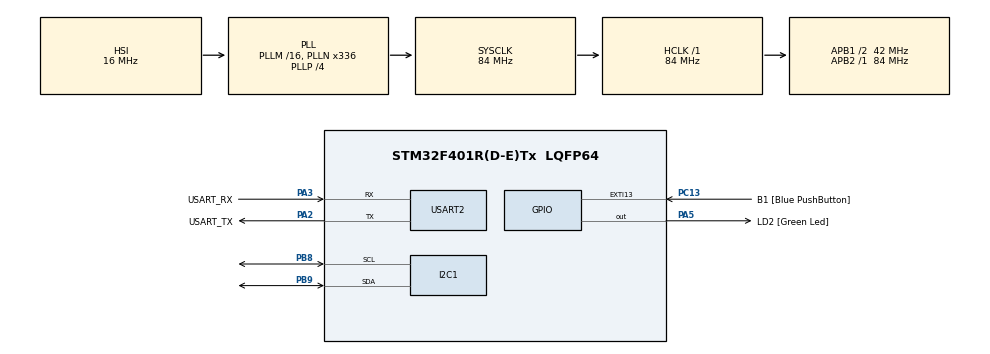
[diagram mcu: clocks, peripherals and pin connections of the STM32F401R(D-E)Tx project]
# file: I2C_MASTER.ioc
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Dma.I2C1_RX.0.Direction=DMA_PERIPH_TO_MEMORY
Dma.I2C1_RX.0.FIFOMode=DMA_FIFOMODE_DISABLE
Dma.I2C1_RX.0.Instance=DMA1_Stream0
Dma.I2C1_RX.0.MemDataAlignment=DMA_MDATAALIGN_BYTE
Dma.I2C1_RX.0.MemInc=DMA_MINC_ENABLE
Dma.I2C1_RX.0.Mode=DMA_NORMAL
Dma.I2C1_RX.0.PeriphDataAlignment=DMA_PDATAALIGN_BYTE
Dma.I2C1_RX.0.PeriphInc=DMA_PINC_DISABLE
Dma.I2C1_RX.0.Priority=DMA_PRIORITY_LOW
Dma.I2C1_TX.1.Direction=DMA_MEMORY_TO_PERIPH
Dma.I2C1_TX.1.FIFOMode=DMA_FIFOMODE_DISABLE
Dma.I2C1_TX.1.Instance=DMA1_Stream7
Dma.I2C1_TX.1.MemDataAlignment=DMA_MDATAALIGN_BYTE
Dma.I2C1_TX.1.MemInc=DMA_MINC_ENABLE
Dma.I2C1_TX.1.Mode=DMA_NORMAL
Dma.I2C1_TX.1.PeriphDataAlignment=DMA_PDATAALIGN_BYTE
Dma.I2C1_TX.1.PeriphInc=DMA_PINC_DISABLE
Dma.I2C1_TX.1.Priority=DMA_PRIORITY_LOW
Dma.Request0=I2C1_RX
Dma.Request1=I2C1_TX
Dma.Request2=USART2_RX
Dma.Request3=USART2_TX
Dma.USART2_RX.2.Direction=DMA_PERIPH_TO_MEMORY
Dma.USART2_RX.2.FIFOMode=DMA_FIFOMODE_DISABLE
Dma.USART2_RX.2.Instance=DMA1_Stream5
Dma.USART2_RX.2.MemDataAlignment=DMA_MDATAALIGN_BYTE
Dma.USART2_RX.2.MemInc=DMA_MINC_ENABLE
Dma.USART2_RX.2.Mode=DMA_NORMAL
Dma.USART2_RX.2.PeriphDataAlignment=DMA_PDATAALIGN_BYTE
Dma.USART2_RX.2.PeriphInc=DMA_PINC_DISABLE
Dma.USART2_RX.2.Priority=DMA_PRIORITY_LOW
Dma.USART2_TX.3.Direction=DMA_MEMORY_TO_PERIPH
Dma.USART2_TX.3.FIFOMode=DMA_FIFOMODE_DISABLE
Dma.USART2_TX.3.Instance=DMA1_Stream6
Dma.USART2_TX.3.MemDataAlignment=DMA_MDATAALIGN_BYTE
Dma.USART2_TX.3.MemInc=DMA_MINC_ENABLE
Dma.USART2_TX.3.Mode=DMA_NORMAL
Dma.USART2_TX.3.PeriphDataAlignment=DMA_PDATAALIGN_BYTE
Dma.USART2_TX.3.PeriphInc=DMA_PINC_DISABLE
Dma.USART2_TX.3.Priority=DMA_PRIORITY_LOW
I2C1.I2C_Mode=I2C_Fast
Mcu.Family=STM32F4
Mcu.Name=STM32F401R(D-E)Tx
Mcu.Package=LQFP64
NVIC.DMA1_Stream0_IRQn=true\:0\:0\:false\:false\:true\:false\:true\:true
NVIC.DMA1_Stream5_IRQn=true\:0\:0\:false\:false\:true\:false\:true\:true
NVIC.DMA1_Stream6_IRQn=true\:0\:0\:false\:false\:true\:false\:true\:true
NVIC.DMA1_Stream7_IRQn=true\:0\:0\:false\:false\:true\:false\:true\:true
NVIC.EXTI15_10_IRQn=true\:0\:0\:false\:false\:true\:true\:true\:true
NVIC.I2C1_ER_IRQn=true\:0\:0\:false\:false\:true\:true\:true\:true
NVIC.I2C1_EV_IRQn=true\:0\:0\:false\:false\:true\:true\:true\:true
NVIC.PriorityGroup=NVIC_PRIORITYGROUP_0
NVIC.TIM1_BRK_TIM9_IRQn=true\:0\:0\:false\:false\:true\:true\:true\:true
NVIC.TIM1_CC_IRQn=true\:0\:0\:false\:false\:true\:true\:true\:true
NVIC.TIM1_TRG_COM_TIM11_IRQn=true\:0\:0\:false\:false\:true\:true\:true\:true
NVIC.TIM1_UP_TIM10_IRQn=true\:0\:0\:false\:false\:true\:true\:true\:true
NVIC.TIM4_IRQn=true\:0\:0\:false\:false\:true\:false\:true\:true
NVIC.TimeBase=TIM4_IRQn
NVIC.TimeBaseIP=TIM4
NVIC.USART2_IRQn=true\:0\:0\:false\:false\:true\:true\:true\:true
PA13.GPIO_Label=TMS
PA13.Mode=Trace_Asynchronous_SW
PA13.Signal=SYS_JTMS-SWDIO
PA14.GPIO_Label=TCK
PA14.Mode=Trace_Asynchronous_SW
PA14.Signal=SYS_JTCK-SWCLK
PA2.GPIO_Label=USART_TX
PA2.GPIO_Mode=GPIO_MODE_AF_PP
PA2.GPIO_PuPd=GPIO_NOPULL
PA2.GPIO_Speed=GPIO_SPEED_FREQ_LOW
PA2.Mode=Asynchronous
PA2.Signal=USART2_TX
PA3.GPIO_Label=USART_RX
PA3.GPIO_Mode=GPIO_MODE_AF_PP
PA3.GPIO_PuPd=GPIO_NOPULL
PA3.GPIO_Speed=GPIO_SPEED_FREQ_LOW
PA3.Mode=Asynchronous
PA3.Signal=USART2_RX
PA5.GPIO_Label=LD2 [Green Led]
PA5.GPIO_Mode=GPIO_MODE_OUTPUT_PP
PA5.GPIO_PuPd=GPIO_NOPULL
PA5.GPIO_Speed=GPIO_SPEED_FREQ_LOW
PA5.Signal=GPIO_Output
PB3.GPIO_Label=SWO
PB3.Mode=Trace_Asynchronous_SW
PB3.Signal=SYS_JTDO-SWO
PB8.Mode=I2C
PB8.Signal=I2C1_SCL
PB9.Mode=I2C
PB9.Signal=I2C1_SDA
PC13-ANTI_TAMP.GPIO_Label=B1 [Blue PushButton]
PC13-ANTI_TAMP.GPIO_ModeDefaultEXTI=GPIO_MODE_IT_FALLING
PC13-ANTI_TAMP.GPIO_PuPd=GPIO_NOPULL
PC13-ANTI_TAMP.Signal=GPXTI13
PC14-OSC32_IN.Mode=LSE-External-Oscillator
PC14-OSC32_IN.Signal=RCC_OSC32_IN
PC15-OSC32_OUT.Mode=LSE-External-Oscillator
PC15-OSC32_OUT.Signal=RCC_OSC32_OUT
PH0\ -\ OSC_IN.Mode=HSE-External-Clock-Source
PH0\ -\ OSC_IN.Signal=RCC_OSC_IN
PH1\ -\ OSC_OUT.Mode=HSE-External-Clock-Source
PH1\ -\ OSC_OUT.Signal=RCC_OSC_OUT
ProjectManager.HeapSize=0x200
ProjectManager.StackSize=0x400
ProjectManager.TargetToolchain=STM32CubeIDE
RCC.48MHZClocksFreq_Value=48000000
RCC.AHBFreq_Value=84000000
RCC.APB1CLKDivider=RCC_HCLK_DIV2
RCC.APB1Freq_Value=42000000
RCC.APB1TimFreq_Value=84000000
RCC.APB2Freq_Value=84000000
RCC.APB2TimFreq_Value=84000000
RCC.CortexFreq_Value=84000000
RCC.HCLKFreq_Value=84000000
RCC.HSE_VALUE=8000000
RCC.HSI_VALUE=16000000
RCC.PLLN=336
RCC.PLLP=RCC_PLLP_DIV4
RCC.PLLQ=7
RCC.SYSCLKFreq_VALUE=84000000
RCC.SYSCLKSource=RCC_SYSCLKSOURCE_PLLCLK
RCC.VCOOutputFreq_Value=336000000
TIM1.Period=25
TIM1.Prescaler=42000
USART2.VirtualMode=VM_ASYNC
VP_SYS_VS_tim4.Mode=TIM4
VP_TIM1_VS_ClockSourceINT.Mode=Internal
board=NUCLEO-F401RE

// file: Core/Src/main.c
/* USER CODE BEGIN Header */
/**
  ******************************************************************************
  * @file           : main.c
  * @brief          : Main program body
  ******************************************************************************
  * @attention
  *
  * Copyright (c) 2024 STMicroelectronics.
  * All rights reserved.
  *
  * This software is licensed under terms that can be found in the LICENSE file
  * in the root directory of this software component.
  * If no LICENSE file comes with this software, it is provided AS-IS.
  *
  ******************************************************************************
  */
/* USER CODE END Header */
#include "main.h"

/* USER CODE BEGIN Includes */
#include "stdbool.h"
#include "stdlib.h"
#include <stdio.h>
#include <string.h>
/* USER CODE END Includes */

I2C_HandleTypeDef hi2c1;
DMA_HandleTypeDef hdma_i2c1_rx;
DMA_HandleTypeDef hdma_i2c1_tx;

TIM_HandleTypeDef htim1;

UART_HandleTypeDef huart2;
DMA_HandleTypeDef hdma_usart2_rx;
DMA_HandleTypeDef hdma_usart2_tx;

/* USER CODE BEGIN PV */
 uint8_t SLV_ADDR = 0x28<<1; // Use 8-bit address

static const uint8_t REG_ST_RDY = 0x01<<0;//status ready
static const uint8_t REG_WR_CF = 0x01<<1;//write config
static const uint8_t REG_RD_CF = 0x01<<1 | 0x01;//read config
static const uint8_t REG_MD_LP = 0x01<<2;//mode loop
static const uint8_t REG_RD_PW = 0x01<<3;//read power
static const uint8_t REG_MF_ID = 0x01<<4;//manufacture id
static const uint8_t REG_VR_ID = 0x01<<5;//read power
uint8_t data_config[2]={0};
uint8_t rxbuf[2]={0};
uint8_t rx_uart[3]={0};
int i=0;
bool state = true;
uint8_t buffer[12] = {0};
/* USER CODE END PV */

void SystemClock_Config(void);
static void MX_GPIO_Init(void);
static void MX_DMA_Init(void);
static void MX_USART2_UART_Init(void);
static void MX_I2C1_Init(void);
static void MX_TIM1_Init(void);
/* USER CODE BEGIN PFP */
void Task_action(char *message);
void Task_Send_Hex(char *message);
void Send_data(char *message);
void Send_data_hex(char *message);

/* USER CODE END PFP */

int main(void)
{

  /* MCU Configuration--------------------------------------------------------*/

  /* Reset of all peripherals, Initializes the Flash interface and the Systick. */
  HAL_Init();

  /* Configure the system clock */
  SystemClock_Config();

  /* Initialize all configured peripherals */
  MX_GPIO_Init();
  MX_DMA_Init();
  MX_USART2_UART_Init();
  MX_I2C1_Init();
  MX_TIM1_Init();
  /* USER CODE BEGIN 2 */
  HAL_UART_Receive_DMA(&huart2, &rx_uart[0], 1);
  /* USER CODE END 2 */

  /* Infinite loop */
  while (1)
  {

    /* USER CODE BEGIN 3 */

//		  buffer[1] = 0b01100101;//input ctrl on
//		  if(i==0){
//			  buffer[0] = REG_ST_RDY;
//			  HAL_I2C_Master_Transmit_DMA(&hi2c1, SLV_ADDR, buffer, 1);
//		  }
//		  else if(i==1){
//			  buffer[2] = 0b11100111; //write config
//			  buffer[0] = REG_WR_CF;
////			  HAL_I2C_Master_Transmit_DMA(&hi2c1, SLV_ADDR, buffer, 3);
//		  }else if(i==2){
//			  buffer[2] = 0b11100110; //read config
//			  buffer[0] = REG_WR_CF;
////			  HAL_I2C_Master_Transmit_DMA(&hi2c1, SLV_ADDR, buffer, 3);
//		  }else if(i==3){
//
//			  buffer[0] = REG_RD_PW;
////			  HAL_I2C_Master_Transmit_DMA(&hi2c1, SLV_ADDR, buffer, 1);
//		  }else if(i==4){
//			  buffer[0] = REG_MF_ID;
////			  HAL_I2C_Master_Transmit_DMA(&hi2c1, SLV_ADDR, buffer, 1);
//		  }else if(i==5){
//			  buffer[0] = REG_VR_ID;
////			  HAL_I2C_Master_Transmit_DMA(&hi2c1, SLV_ADDR, buffer, 1);
//		  }else{
//
//		  }
//
//		  HAL_Delay(700);
//		  i++;
//	  			if(i>5){
//	  				i=2;
//	  			}
//	  buffer[3] = REG_4;
//	  if(i == 1){
//		  HAL_I2C_Master_Transmit_DMA(&hi2c1, SLV_ADDR, &buf, 1);
//	  }else if(i == 2){
//		  HAL_I2C_Master_Transmit_DMA(&hi2c1, SLV_ADDR, &buf1, 1);
//	  }else if(i == 3){
//		  HAL_I2C_Master_Transmit_DMA(&hi2c1, SLV_ADDR, &buf2, 1);
//	  }else{
////		  Task_action("id");
//	  }
//
//	  HAL_Delay(1000);

  }
  /* USER CODE END 3 */
}

void SystemClock_Config(void)
{
  RCC_OscInitTypeDef RCC_OscInitStruct = {0};
  RCC_ClkInitTypeDef RCC_ClkInitStruct = {0};

  /** Configure the main internal regulator output voltage
  */
  __HAL_RCC_PWR_CLK_ENABLE();
  __HAL_PWR_VOLTAGESCALING_CONFIG(PWR_REGULATOR_VOLTAGE_SCALE2);

  /** Initializes the RCC Oscillators according to the specified parameters
  * in the RCC_OscInitTypeDef structure.
  */
  RCC_OscInitStruct.OscillatorType = RCC_OSCILLATORTYPE_HSI;
  RCC_OscInitStruct.HSIState = RCC_HSI_ON;
  RCC_OscInitStruct.HSICalibrationValue = RCC_HSICALIBRATION_DEFAULT;
  RCC_OscInitStruct.PLL.PLLState = RCC_PLL_ON;
  RCC_OscInitStruct.PLL.PLLSource = RCC_PLLSOURCE_HSI;
  RCC_OscInitStruct.PLL.PLLM = 16;
  RCC_OscInitStruct.PLL.PLLN = 336;
  RCC_OscInitStruct.PLL.PLLP = RCC_PLLP_DIV4;
  RCC_OscInitStruct.PLL.PLLQ = 7;
  if (HAL_RCC_OscConfig(&RCC_OscInitStruct) != HAL_OK)
  {
    Error_Handler();
  }

  /** Initializes the CPU, AHB and APB buses clocks
  */
  RCC_ClkInitStruct.ClockType = RCC_CLOCKTYPE_HCLK|RCC_CLOCKTYPE_SYSCLK
                              |RCC_CLOCKTYPE_PCLK1|RCC_CLOCKTYPE_PCLK2;
  RCC_ClkInitStruct.SYSCLKSource = RCC_SYSCLKSOURCE_PLLCLK;
  RCC_ClkInitStruct.AHBCLKDivider = RCC_SYSCLK_DIV1;
  RCC_ClkInitStruct.APB1CLKDivider = RCC_HCLK_DIV2;
  RCC_ClkInitStruct.APB2CLKDivider = RCC_HCLK_DIV1;

  if (HAL_RCC_ClockConfig(&RCC_ClkInitStruct, FLASH_LATENCY_2) != HAL_OK)
  {
    Error_Handler();
  }
}

static void MX_I2C1_Init(void)
{

  hi2c1.Instance = I2C1;
  hi2c1.Init.ClockSpeed = 400000;
  hi2c1.Init.DutyCycle = I2C_DUTYCYCLE_2;
  hi2c1.Init.OwnAddress1 = 0;
  hi2c1.Init.AddressingMode = I2C_ADDRESSINGMODE_7BIT;
  hi2c1.Init.DualAddressMode = I2C_DUALADDRESS_DISABLE;
  hi2c1.Init.OwnAddress2 = 0;
  hi2c1.Init.GeneralCallMode = I2C_GENERALCALL_DISABLE;
  hi2c1.Init.NoStretchMode = I2C_NOSTRETCH_DISABLE;
  if (HAL_I2C_Init(&hi2c1) != HAL_OK)
  {
    Error_Handler();
  }

}

static void MX_TIM1_Init(void)
{

  TIM_ClockConfigTypeDef sClockSourceConfig = {0};
  TIM_MasterConfigTypeDef sMasterConfig = {0};

  htim1.Instance = TIM1;
  htim1.Init.Prescaler = 42000;
  htim1.Init.CounterMode = TIM_COUNTERMODE_UP;
  htim1.Init.Period = 25;
  htim1.Init.ClockDivision = TIM_CLOCKDIVISION_DIV1;
  htim1.Init.RepetitionCounter = 0;
  htim1.Init.AutoReloadPreload = TIM_AUTORELOAD_PRELOAD_DISABLE;
  if (HAL_TIM_Base_Init(&htim1) != HAL_OK)
  {
    Error_Handler();
  }
  sClockSourceConfig.ClockSource = TIM_CLOCKSOURCE_INTERNAL;
  if (HAL_TIM_ConfigClockSource(&htim1, &sClockSourceConfig) != HAL_OK)
  {
    Error_Handler();
  }
  sMasterConfig.MasterOutputTrigger = TIM_TRGO_RESET;
  sMasterConfig.MasterSlaveMode = TIM_MASTERSLAVEMODE_DISABLE;
  if (HAL_TIMEx_MasterConfigSynchronization(&htim1, &sMasterConfig) != HAL_OK)
  {
    Error_Handler();
  }

}

static void MX_USART2_UART_Init(void)
{

  huart2.Instance = USART2;
  huart2.Init.BaudRate = 115200;
  huart2.Init.WordLength = UART_WORDLENGTH_8B;
  huart2.Init.StopBits = UART_STOPBITS_1;
  huart2.Init.Parity = UART_PARITY_NONE;
  huart2.Init.Mode = UART_MODE_TX_RX;
  huart2.Init.HwFlowCtl = UART_HWCONTROL_NONE;
  huart2.Init.OverSampling = UART_OVERSAMPLING_16;
  if (HAL_UART_Init(&huart2) != HAL_OK)
  {
    Error_Handler();
  }

}

static void MX_DMA_Init(void)
{

  /* DMA controller clock enable */
  __HAL_RCC_DMA1_CLK_ENABLE();

  /* DMA interrupt init */
  /* DMA1_Stream0_IRQn interrupt configuration */
  HAL_NVIC_SetPriority(DMA1_Stream0_IRQn, 0, 0);
  HAL_NVIC_EnableIRQ(DMA1_Stream0_IRQn);
  /* DMA1_Stream5_IRQn interrupt configuration */
  HAL_NVIC_SetPriority(DMA1_Stream5_IRQn, 0, 0);
  HAL_NVIC_EnableIRQ(DMA1_Stream5_IRQn);
  /* DMA1_Stream6_IRQn interrupt configuration */
  HAL_NVIC_SetPriority(DMA1_Stream6_IRQn, 0, 0);
  HAL_NVIC_EnableIRQ(DMA1_Stream6_IRQn);
  /* DMA1_Stream7_IRQn interrupt configuration */
  HAL_NVIC_SetPriority(DMA1_Stream7_IRQn, 0, 0);
  HAL_NVIC_EnableIRQ(DMA1_Stream7_IRQn);

}

static void MX_GPIO_Init(void)
{
  GPIO_InitTypeDef GPIO_InitStruct = {0};

  /* GPIO Ports Clock Enable */
  __HAL_RCC_GPIOC_CLK_ENABLE();
  __HAL_RCC_GPIOH_CLK_ENABLE();
  __HAL_RCC_GPIOA_CLK_ENABLE();
  __HAL_RCC_GPIOB_CLK_ENABLE();

  /*Configure GPIO pin Output Level */
  HAL_GPIO_WritePin(LD2_GPIO_Port, LD2_Pin, GPIO_PIN_RESET);

  /*Configure GPIO pin : B1_Pin */
  GPIO_InitStruct.Pin = B1_Pin;
  GPIO_InitStruct.Mode = GPIO_MODE_IT_FALLING;
  GPIO_InitStruct.Pull = GPIO_NOPULL;
  HAL_GPIO_Init(B1_GPIO_Port, &GPIO_InitStruct);

  /*Configure GPIO pin : LD2_Pin */
  GPIO_InitStruct.Pin = LD2_Pin;
  GPIO_InitStruct.Mode = GPIO_MODE_OUTPUT_PP;
  GPIO_InitStruct.Pull = GPIO_NOPULL;
  GPIO_InitStruct.Speed = GPIO_SPEED_FREQ_LOW;
  HAL_GPIO_Init(LD2_GPIO_Port, &GPIO_InitStruct);

  /* EXTI interrupt init*/
  HAL_NVIC_SetPriority(EXTI15_10_IRQn, 0, 0);
  HAL_NVIC_EnableIRQ(EXTI15_10_IRQn);

}

/* USER CODE BEGIN 4 */
int __io_putchar(int ch){
	HAL_UART_Transmit(&huart2, (uint8_t *) &ch, 1, HAL_MAX_DELAY);
	return ch;
}
void Task_action(char *message)
{
	while(*message){
		ITM_SendChar(*message);
		message++;
	}

	ITM_SendChar('\n');
}
void Task_Send_Hex(char *message)
{
	char hex_digits[] = "0123456789ABCDEF";
	while(*message){

		ITM_SendChar(hex_digits[(*message >> 4) & 0x0F]);
		ITM_SendChar(hex_digits[(*message & 0x0F)]);
		message++;
		ITM_SendChar(' ');
	}

	ITM_SendChar('\n');
}

void HAL_I2C_MasterTxCpltCallback(I2C_HandleTypeDef *hi2c){
	if (hi2c->Instance == I2C1)
	  {
	HAL_I2C_Master_Receive_DMA(&hi2c1, SLV_ADDR, rxbuf, 2);
	  }
}

void HAL_I2C_MasterRxCpltCallback(I2C_HandleTypeDef *hi2c){
//	Task_Send_Hex((char *)rxbuf);
//	Send_data_hex((char *)rxbuf);
	printf(" 0x%02X%02X\n",rxbuf[0],rxbuf[1]);
	memset(rxbuf, 0, 2*sizeof(char));

}
void HAL_GPIO_EXTI_Callback(uint16_t GPIO_Pin){
	if(GPIO_Pin == B1_Pin && state == true){
		HAL_TIM_Base_Start_IT(&htim1);
		state = false;
	}
	else{
		__NOP();
	}
}
void Send_data(char *message)
{
	HAL_UART_Transmit_DMA(&huart2, (uint8_t *)message, strlen(message));
}

void Send_data_hex(char *message)
{
//	char hex_digits[] = "0123456789ABCDEF";
//	char hex[5];
//	int i=0;
//	int n=0;
//		while(*message){
//			i+=n;
//			hex[i] = hex_digits[(*message >> 4) & 0x0F];
//			i++;
//			hex[i] = hex_digits[(*message & 0x0F)];
//			message++;
//			n++;
//		}
//		hex[4]='\n';
//		HAL_UART_Transmit(&huart2,(uint8_t *)hex,5,500);

}
/*event callback when uart finish receive data/idle*/
void HAL_UART_RxCpltCallback(UART_HandleTypeDef *huart)
{
//	Send_data(&rx_uart);
//	if(huart->Instance == USART2){

		  switch(rx_uart[0]){
			  case 0x30: //0
				  buffer[0] = REG_ST_RDY;
				  HAL_I2C_Master_Transmit_DMA(&hi2c1, SLV_ADDR, &buffer[0], 1);
				  break;
			  case 0x31://1
				  buffer[1] = 0b01100101; //0x65 input ctrl on
				  buffer[2] = 0b11100111; //0xE7 write config
				  buffer[0] = REG_WR_CF;
				  HAL_I2C_Master_Transmit(&hi2c1, SLV_ADDR, buffer, 3, 500);
				  break;
			  case 0x32://2
				  buffer[0] = REG_RD_CF;
				  HAL_I2C_Master_Transmit_DMA(&hi2c1, SLV_ADDR, &buffer[0], 1);
				  break;
			  case 0x33://3,loop test
				  buffer[1] = 0b00000000; //0x00
				  buffer[2] = 0b00000111; //0x03//loop
				  buffer[0] = REG_MD_LP;
				  HAL_I2C_Master_Transmit(&hi2c1, SLV_ADDR, buffer, 3, 500);
				  break;
			  case 0x34://4,read power
				  buffer[0] = REG_RD_PW;
				  HAL_I2C_Master_Transmit_DMA(&hi2c1, SLV_ADDR, &buffer[0], 1);
				  break;
			  case 0x35://5,read manufacture id
				  buffer[0] = REG_MF_ID;
				  HAL_I2C_Master_Transmit_DMA(&hi2c1, SLV_ADDR, &buffer[0], 1);
				  break;
			  case 0x36://6,read version id
				  buffer[0] = REG_VR_ID;
				  HAL_I2C_Master_Transmit_DMA(&hi2c1, SLV_ADDR, &buffer[0], 1);
				  break;
			  default:{

			  }
		  }
		/*Receive command*/
//		rx_uart = 0;
		  HAL_UART_Receive_DMA(&huart2, &rx_uart[0], 1);
//		__HAL_DMA_DISABLE_IT(&hdma_usart2_rx, DMA_IT_HT);

//	}

}
int __io_putchar(int ch)
{
  HAL_UART_Transmit(&huart2, (uint8_t *)&ch, 1, 0xFFFF);
  return ch;
}
/* USER CODE END 4 */

void HAL_TIM_PeriodElapsedCallback(TIM_HandleTypeDef *htim)
{
  if (htim->Instance == TIM4) {
    HAL_IncTick();
  }
  /* USER CODE BEGIN Callback 1 */
  if(htim->Instance == TIM1){
		if(HAL_GPIO_ReadPin(B1_GPIO_Port, B1_Pin) == GPIO_PIN_RESET){
			HAL_I2C_Master_Transmit_DMA(&hi2c1, SLV_ADDR, buffer, 3);
			i++;
			if(i>5){
				i=2;
			}
			state = true;
			HAL_TIM_Base_Stop_IT(&htim1);
		}
  }
  /* USER CODE END Callback 1 */
}

void Error_Handler(void)
{
  __disable_irq();
  while (1)
  {
  }
}
